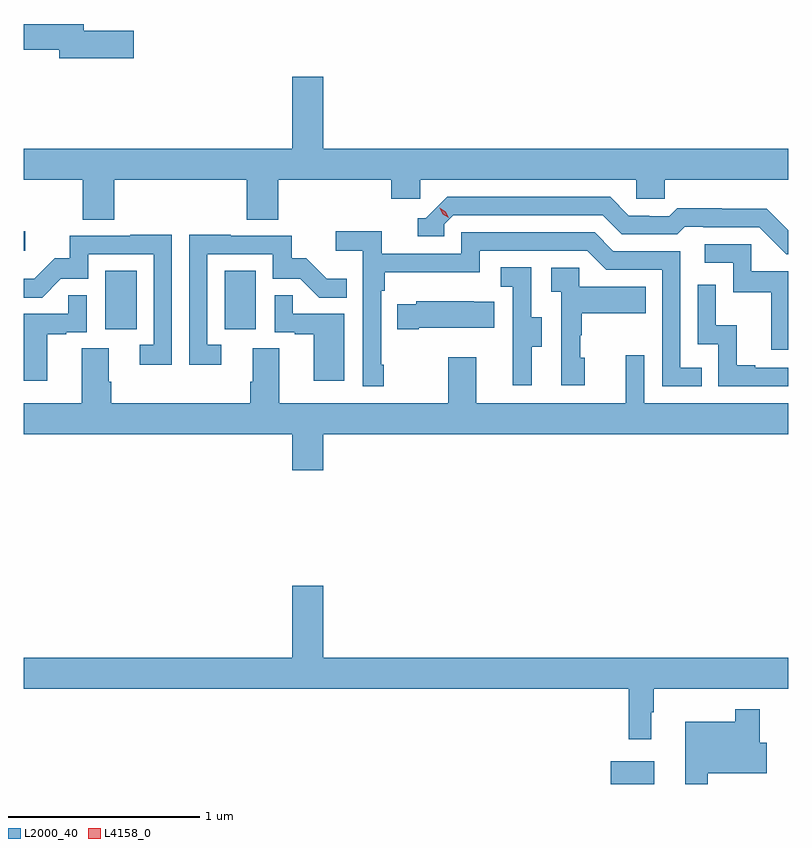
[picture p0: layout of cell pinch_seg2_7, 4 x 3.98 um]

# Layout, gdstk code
import gdstk
lib = gdstk.Library(unit=1e-6, precision=1e-09)
def R(c, l, rs):  # rectangles x0, y0, x1, y1
    for r in rs: c.add(gdstk.rectangle(r[:2], r[2:], *l))
def P(c, l, *ps):  # polygons
    for p in ps: c.add(gdstk.Polygon(p, *l))
L2000_40 = (2000, 40)
L4158_0 = (4158, 0)

pinch_seg2_7 = lib.new_cell('pinch_seg2_7')
R(pinch_seg2_7, L2000_40, [(1125.716,657.794,1125.943,657.913), (1123.07,660.174,1123.234,660.481), (1123.694,660.174,1123.858,660.481), (1122.644,660.584,1122.652,660.686)])
P(pinch_seg2_7, L2000_40, [(1123.219,661.736),(1122.958,661.736),(1122.958,661.772),(1122.644,661.772),(1122.644,661.636),(1122.83,661.636),(1122.83,661.594),(1123.219,661.594)],
  [(1122.644,660.956),(1122.953,660.956),(1122.953,660.748),(1123.118,660.748),(1123.118,660.956),(1123.811,660.956),(1123.811,660.748),(1123.976,660.748),(1123.976,660.956),(1124.567,660.956),(1124.567,660.858),(1124.718,660.858),(1124.718,660.956),(1125.849,660.956),(1125.849,660.858),(1125.999,660.858),(1125.999,660.956),(1126.644,660.956),(1126.644,661.12),(1124.212,661.12),(1124.212,661.495),(1124.048,661.495),(1124.048,661.12),(1122.644,661.12)],
  [(1126.644,660.693),(1126.532,660.805),(1126.296,660.805),(1126.296,660.808),(1126.063,660.808),(1126.021,660.765),(1125.918,660.765),(1125.918,660.768),(1125.811,660.768),(1125.712,660.867),(1124.859,660.867),(1124.748,660.756),(1124.705,660.756),(1124.705,660.66),(1124.844,660.66),(1124.844,660.723),(1124.892,660.771),(1125.675,660.771),(1125.774,660.672),(1126.063,660.672),(1126.102,660.711),(1126.201,660.711),(1126.201,660.708),(1126.494,660.708),(1126.635,660.567),(1126.644,660.567)],
  [(1124.527,659.989),(1124.514,659.989),(1124.514,660.377),(1124.534,660.377),(1124.534,660.473),(1125.03,660.473),(1125.03,660.585),(1125.594,660.585),(1125.693,660.486),(1125.984,660.486),(1125.984,659.877),(1126.193,659.877),(1126.193,659.973),(1126.08,659.973),(1126.08,660.582),(1125.73,660.582),(1125.631,660.681),(1124.934,660.681),(1124.934,660.57),(1124.516,660.57),(1124.516,660.686),(1124.277,660.686),(1124.277,660.584),(1124.418,660.584),(1124.418,659.877),(1124.527,659.877)],
  [(1123.419,660.668),(1123.201,660.668),(1123.201,660.663),(1122.883,660.663),(1122.883,660.546),(1122.806,660.546),(1122.699,660.439),(1122.644,660.439),(1122.644,660.34),(1122.739,660.34),(1122.837,660.438),(1122.981,660.438),(1122.981,660.567),(1123.323,660.567),(1123.323,660.093),(1123.251,660.093),(1123.251,659.988),(1123.419,659.988)],
  [(1123.678,660.093),(1123.605,660.093),(1123.605,660.567),(1123.947,660.567),(1123.947,660.438),(1124.091,660.438),(1124.189,660.34),(1124.333,660.34),(1124.333,660.439),(1124.229,660.439),(1124.122,660.546),(1124.046,660.546),(1124.046,660.663),(1123.727,660.663),(1123.727,660.668),(1123.509,660.668),(1123.509,659.988),(1123.678,659.988)],
  [(1126.644,660.477),(1126.452,660.477),(1126.452,660.618),(1126.209,660.618),(1126.209,660.522),(1126.356,660.522),(1126.356,660.369),(1126.555,660.369),(1126.555,660.066),(1126.644,660.066)],
  [(1125.301,660.082),(1125.355,660.082),(1125.355,660.237),(1125.3,660.237),(1125.3,660.5),(1125.141,660.5),(1125.141,660.397),(1125.204,660.397),(1125.204,660.093),(1125.203,660.093),(1125.203,659.88),(1125.301,659.88)],
  [(1125.58,660.024),(1125.555,660.024),(1125.555,660.143),(1125.565,660.143),(1125.565,660.257),(1125.899,660.257),(1125.899,660.397),(1125.552,660.397),(1125.552,660.495),(1125.405,660.495),(1125.405,660.371),(1125.456,660.371),(1125.456,659.88),(1125.58,659.88)],
  [(1126.644,659.973),(1126.471,659.973),(1126.471,659.986),(1126.376,659.986),(1126.376,660.194),(1126.266,660.194),(1126.266,660.406),(1126.17,660.406),(1126.17,660.096),(1126.278,660.096),(1126.278,659.877),(1126.644,659.877)],
  [(1122.766,660.147),(1122.866,660.147),(1122.866,660.159),(1122.972,660.159),(1122.972,660.353),(1122.877,660.353),(1122.877,660.255),(1122.644,660.255),(1122.644,659.904),(1122.766,659.904)],
  [(1124.32,660.255),(1124.051,660.255),(1124.051,660.353),(1123.956,660.353),(1123.956,660.159),(1124.063,660.159),(1124.063,660.147),(1124.162,660.147),(1124.162,659.904),(1124.32,659.904)],
  [(1124.71,660.182),(1125.107,660.182),(1125.107,660.319),(1124.999,660.319),(1124.999,660.322),(1124.697,660.322),(1124.697,660.304),(1124.599,660.304),(1124.599,660.175),(1124.71,660.175)],
  [(1124.212,659.624),(1126.644,659.624),(1126.644,659.788),(1125.891,659.788),(1125.891,660.037),(1125.794,660.037),(1125.794,659.788),(1125.013,659.788),(1125.013,660.028),(1124.866,660.028),(1124.866,659.788),(1123.981,659.788),(1123.981,660.074),(1123.841,660.074),(1123.841,659.9),(1123.829,659.9),(1123.829,659.788),(1123.1,659.788),(1123.1,659.9),(1123.087,659.9),(1123.087,660.074),(1122.947,660.074),(1122.947,659.788),(1122.644,659.788),(1122.644,659.624),(1124.048,659.624),(1124.048,659.436),(1124.212,659.436)],
  [(1125.928,658.169),(1125.94,658.169),(1125.94,658.292),(1126.644,658.292),(1126.644,658.456),(1124.212,658.456),(1124.212,658.831),(1124.048,658.831),(1124.048,658.456),(1122.644,658.456),(1122.644,658.292),(1125.811,658.292),(1125.811,658.029),(1125.928,658.029)],
  [(1126.223,657.851),(1126.531,657.851),(1126.531,658.009),(1126.496,658.009),(1126.496,658.186),(1126.368,658.186),(1126.368,658.12),(1126.106,658.12),(1126.106,657.794),(1126.223,657.794)])
P(pinch_seg2_7, L4158_0, [(1124.868,660.757),(1124.837,660.776),(1124.82,660.808),(1124.82,660.809),(1124.821,660.809),(1124.852,660.79),(1124.868,660.758),(1124.868,660.757)])

lib.write_gds('pinch_seg2_7.gds')
